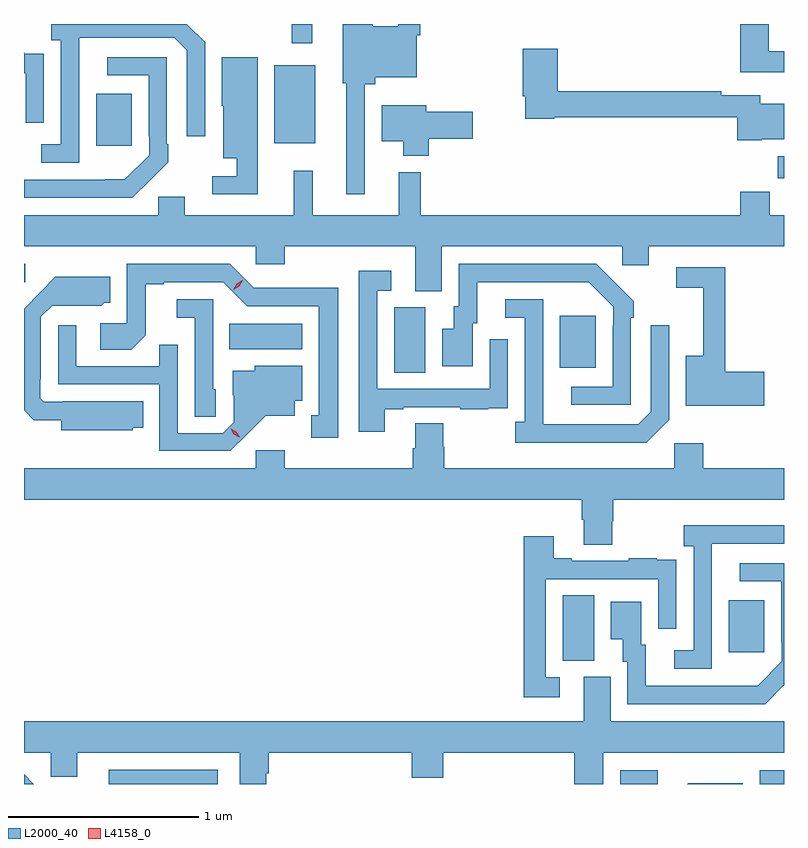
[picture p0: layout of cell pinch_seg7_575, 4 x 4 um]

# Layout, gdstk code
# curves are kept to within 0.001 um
import gdstk
lib = gdstk.Library(unit=1e-6, precision=1e-09)
def R(c, l, rs):  # rectangles x0, y0, x1, y1
    for r in rs: c.add(gdstk.rectangle(r[:2], r[2:], *l))
def P(c, l, *ps):  # polygons
    for p in ps: c.add(gdstk.Polygon(p, *l))
L2000_40 = (2000, 40)
L4158_0 = (4158, 0)

pinch_seg7_575 = lib.new_cell('pinch_seg7_575')
R(pinch_seg7_575, L2000_40, [(178.469,1056.395,179.043,1056.471), (181.161,1056.395,181.36,1056.468), (181.896,1056.395,182.024,1056.468), (180.86,1057.045,181.024,1057.388), (181.733,1057.089,181.921,1057.363), (179.972,1058.56,180.136,1058.904), (180.845,1058.585,181.033,1058.86), (179.104,1058.684,179.488,1058.818), (178.024,1059.036,178.03,1059.132), (181.99,1059.582,182.024,1059.7), (178.403,1059.753,178.591,1060.027), (179.342,1059.767,179.557,1060.177), (179.433,1060.293,179.542,1060.395)])
P(pinch_seg7_575, L2000_40, [(182.024,1060.252),(181.945,1060.252),(181.945,1060.395),(181.793,1060.395),(181.793,1060.142),(182.024,1060.142)],
  [(179.817,1060.079),(179.873,1060.079),(179.873,1060.115),(180.09,1060.115),(180.09,1060.337),(180.11,1060.337),(180.11,1060.395),(179.993,1060.395),(179.993,1060.384),(179.86,1060.384),(179.86,1060.395),(179.702,1060.395),(179.702,1060.083),(179.72,1060.083),(179.72,1059.498),(179.817,1059.498)],
  [(178.314,1060.123),(178.315,1060.323),(178.815,1060.323),(178.881,1060.257),(178.881,1059.804),(178.977,1059.804),(178.977,1060.299),(178.881,1060.395),(178.167,1060.395),(178.167,1060.31),(178.218,1060.31),(178.218,1059.762),(178.116,1059.762),(178.116,1059.666),(178.314,1059.666)],
  [(181.908,1059.788),(182.024,1059.788),(182.024,1059.976),(181.9,1059.976),(181.9,1060.02),(181.694,1060.02),(181.694,1060.04),(180.833,1060.04),(180.833,1060.264),(180.65,1060.264),(180.65,1060.015),(180.662,1060.015),(180.662,1059.896),(180.816,1059.896),(180.816,1059.904),(181.778,1059.904),(181.778,1059.782),(181.908,1059.782)],
  [(178.128,1060.13),(178.127,1060.13),(178.127,1060.239),(178.025,1060.239),(178.025,1060.246),(178.024,1060.246),(178.024,1060.137),(178.032,1060.137),(178.032,1059.876),(178.128,1059.876)],
  [(178.685,1059.571),(178.686,1059.57),(178.784,1059.668),(178.784,1059.763),(178.776,1059.763),(178.776,1060.221),(178.461,1060.221),(178.461,1060.125),(178.68,1060.125),(178.68,1059.805),(178.683,1059.805),(178.683,1059.705),(178.555,1059.577),(178.024,1059.576),(178.024,1059.48),(178.594,1059.48)],
  [(179.253,1059.771),(179.254,1059.771),(179.254,1060.219),(179.066,1060.219),(179.066,1059.966),(179.072,1059.966),(179.072,1059.689),(179.145,1059.689),(179.145,1059.594),(179.016,1059.594),(179.016,1059.498),(179.253,1059.498)],
  [(180.155,1059.79),(180.385,1059.79),(180.385,1059.932),(180.142,1059.932),(180.142,1059.967),(179.906,1059.967),(179.906,1059.779),(180.02,1059.779),(180.02,1059.701),(180.155,1059.701)],
  [(180.223,1059.224),(181.173,1059.224),(181.173,1059.126),(181.312,1059.126),(181.312,1059.224),(182.024,1059.224),(182.024,1059.388),(181.949,1059.388),(181.949,1059.512),(181.793,1059.512),(181.793,1059.388),(180.113,1059.388),(180.113,1059.616),(179.996,1059.616),(179.996,1059.388),(179.543,1059.388),(179.543,1059.622),(179.444,1059.622),(179.444,1059.388),(178.87,1059.388),(178.87,1059.486),(178.731,1059.486),(178.731,1059.388),(178.024,1059.388),(178.024,1059.224),(179.244,1059.224),(179.244,1059.131),(179.396,1059.131),(179.396,1059.224),(180.083,1059.224),(180.083,1058.989),(180.223,1058.989)],
  [(181.218,1058.849),(181.233,1058.849),(181.233,1058.937),(181.036,1059.132),(180.312,1059.132),(180.312,1058.91),(180.287,1058.91),(180.287,1058.791),(180.224,1058.791),(180.224,1058.595),(180.385,1058.595),(180.385,1058.82),(180.409,1058.82),(180.409,1059.036),(180.997,1059.036),(181.125,1058.907),(181.125,1058.807),(181.122,1058.807),(181.122,1058.487),(180.903,1058.487),(180.903,1058.391),(181.218,1058.391)],
  [(179.677,1059.008),(179.454,1059.008),(179.454,1059.006),(179.232,1059.006),(179.106,1059.132),(178.566,1059.132),(178.566,1058.82),(178.425,1058.82),(178.425,1058.68),(178.589,1058.68),(178.665,1058.756),(178.665,1059.024),(178.759,1059.024),(178.759,1059.036),(179.073,1059.036),(179.199,1058.91),(179.576,1058.91),(179.576,1058.337),(179.537,1058.337),(179.537,1058.217),(179.677,1058.217)],
  [(181.921,1058.564),(181.715,1058.564),(181.715,1059.114),(181.458,1059.114),(181.458,1059.006),(181.598,1059.006),(181.598,1058.65),(181.508,1058.65),(181.508,1058.386),(181.921,1058.386)],
  [(179.923,1058.367),(180.019,1058.367),(180.019,1058.379),(180.319,1058.379),(180.319,1058.367),(180.467,1058.367),(180.467,1058.373),(180.569,1058.373),(180.569,1058.482),(180.57,1058.482),(180.57,1058.737),(180.474,1058.737),(180.474,1058.475),(179.883,1058.475),(179.883,1058.991),(179.956,1058.991),(179.956,1059.097),(179.787,1059.097),(179.787,1058.25),(179.923,1058.25)],
  [(178.596,1058.27),(178.652,1058.27),(178.652,1058.41),(178.228,1058.41),(178.228,1058.406),(178.128,1058.406),(178.11,1058.424),(178.11,1058.524),(178.113,1058.524),(178.113,1058.853),(178.173,1058.913),(178.43,1058.912),(178.446,1058.928),(178.477,1058.928),(178.477,1059.064),(178.189,1059.064),(178.024,1058.897),(178.024,1058.361),(178.076,1058.309),(178.22,1058.309),(178.22,1058.258),(178.596,1058.258)],
  [(181.419,1058.313),(181.419,1058.809),(181.323,1058.809),(181.323,1058.355),(181.257,1058.289),(180.757,1058.289),(180.756,1058.946),(180.558,1058.946),(180.558,1058.85),(180.66,1058.85),(180.66,1058.302),(180.609,1058.302),(180.609,1058.192),(181.298,1058.192)],
  [(179.034,1058.472),(179.019,1058.472),(179.019,1058.946),(178.827,1058.946),(178.827,1058.849),(178.923,1058.849),(178.923,1058.329),(179.034,1058.329)],
  [(179.194,1058.231),(179.297,1058.333),(179.449,1058.333),(179.449,1058.412),(179.488,1058.412),(179.488,1058.596),(179.238,1058.596),(179.238,1058.569),(179.123,1058.569),(179.123,1058.44),(179.127,1058.44),(179.127,1058.298),(179.07,1058.241),(178.833,1058.241),(178.833,1058.708),(178.735,1058.708),(178.735,1058.595),(178.299,1058.595),(178.299,1058.809),(178.203,1058.809),(178.203,1058.499),(178.737,1058.499),(178.737,1058.148),(179.11,1058.148)],
  [(181.119,1057.779),(181.124,1057.779),(181.124,1057.892),(182.024,1057.892),(182.024,1058.056),(181.598,1058.056),(181.598,1058.188),(181.446,1058.188),(181.446,1058.056),(180.236,1058.056),(180.236,1058.169),(180.231,1058.169),(180.231,1058.294),(180.083,1058.294),(180.083,1058.162),(180.071,1058.162),(180.071,1058.056),(179.396,1058.056),(179.396,1058.152),(179.244,1058.152),(179.244,1058.056),(178.024,1058.056),(178.024,1057.892),(180.959,1057.892),(180.959,1057.786),(180.971,1057.786),(180.971,1057.654),(181.119,1057.654)],
  [(181.644,1057.459),(181.645,1057.459),(181.645,1057.659),(182.024,1057.659),(182.024,1057.756),(181.497,1057.756),(181.497,1057.646),(181.548,1057.646),(181.548,1057.098),(181.446,1057.098),(181.446,1057.002),(181.644,1057.002)],
  [(180.844,1056.957),(180.771,1056.957),(180.771,1057.473),(181.362,1057.473),(181.362,1057.212),(181.458,1057.212),(181.458,1057.466),(181.457,1057.466),(181.457,1057.575),(181.355,1057.575),(181.355,1057.582),(181.207,1057.582),(181.207,1057.569),(180.907,1057.569),(180.907,1057.582),(180.811,1057.582),(180.811,1057.699),(180.655,1057.699),(180.655,1056.852),(180.844,1056.852)],
  [(182.015,1056.907),(182.016,1056.906),(182.024,1056.914),(182.024,1057.557),(181.791,1057.557),(181.791,1057.461),(182.01,1057.461),(182.01,1057.141),(182.013,1057.141),(182.013,1057.041),(181.885,1056.913),(181.297,1056.912),(181.297,1057.128),(181.273,1057.128),(181.273,1057.354),(181.112,1057.354),(181.112,1057.157),(181.175,1057.157),(181.175,1057.038),(181.2,1057.038),(181.2,1056.816),(181.924,1056.816)],
  [(179.298,1056.451),(179.312,1056.451),(179.312,1056.56),(180.065,1056.56),(180.065,1056.427),(180.23,1056.427),(180.23,1056.56),(180.92,1056.56),(180.92,1056.395),(181.072,1056.395),(181.072,1056.56),(182.024,1056.56),(182.024,1056.724),(181.111,1056.724),(181.111,1056.96),(180.971,1056.96),(180.971,1056.724),(178.024,1056.724),(178.024,1056.56),(178.164,1056.56),(178.164,1056.433),(178.303,1056.433),(178.303,1056.56),(179.159,1056.56),(179.159,1056.395),(179.298,1056.395)],
  [(178.024,1056.446),(178.024,1056.395),(178.075,1056.395)],
  [(181.807,1056.4),(181.519,1056.4),(181.514,1056.395),(181.807,1056.395)])
P(pinch_seg7_575, L4158_0, [(179.126,1058.997),(179.126,1058.997),(179.144,1059.029),(179.175,1059.048),(179.176,1059.048),(179.176,1059.047),(179.158,1059.015),(179.126,1058.997)],
  [(179.158,1058.22),(179.128,1058.235),(179.111,1058.265),(179.111,1058.265),(179.111,1058.265),(179.142,1058.25),(179.159,1058.22),(179.159,1058.22)])

lib.write_gds('pinch_seg7_575.gds')
